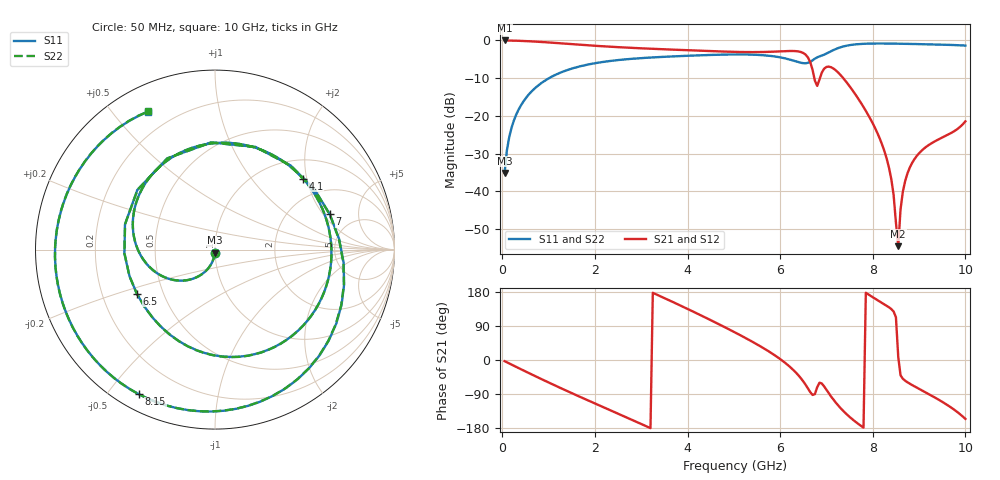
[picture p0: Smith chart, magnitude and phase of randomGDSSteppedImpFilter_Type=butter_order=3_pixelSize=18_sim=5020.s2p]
! freq	dB(S11)	phase(S11)	dB(S12)	phase(S12)
!  dB(S21)	phase(S21)	dB(S22)	phase(S22)
!S-par simulation data
#  GHz  S  DB  R 50
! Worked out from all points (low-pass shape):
!   200 points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, 50 MHz to 10 GHz, reference 50 ohm
!   highest |S21| = -0.01 dB at 50 MHz (marker M1); lowest = -54.5 dB at 8.55 GHz (marker M2)
!   |S21| within 3 dB of the highest: start of sweep to 4.947 GHz; 5.795 GHz to 6.426 GHz (631.1 MHz wide, 10.3 % of centre)
!   lowest |S11| = -35.1 dB at 50 MHz (marker M3), VSWR 1.04, Z = 49.9 - j1.76 ohm
!   |S11| at or under -10 dB: start of sweep to 1.008 GHz
!   |S22| runs from -35.1 to -0.8 dB; largest |S21 - S12| = 0
!   S11 on the Smith chart (normalised r, x): 50 MHz: 1.00, -0.04; 4.1 GHz: 1.45, +1.90; 6.5 GHz: 0.35, -0.23; 7 GHz: 3.28, +2.34; 8.15 GHz: 0.06, -0.60; 10 GHz: 0.11, +0.62
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0.05  -35.08 -92.9  -0.01 -3.1  -0.01 -3.1  -35.08 -92.9
0.2  -23.09 -102.3  -0.04 -12.2  -0.04 -12.2  -23.10 -102.4
0.5  -15.41 -120.8  -0.17 -30.1  -0.17 -30.1  -15.41 -120.7
1.1  -9.39 -155.6  -0.62 -65.0  -0.62 -65.0  -9.39 -155.6
1.75  -6.65 168.3  -1.20 -101.1  -1.20 -101.1  -6.65 168.2
2.6  -5.07 122.4  -1.85 -147.1  -1.85 -147.1  -5.07 122.2
3.4  -4.40 78.7  -2.30 169.0  -2.30 169.0  -4.39 78.4
4.1  -4.01 38.9  -2.64 129.0  -2.64 129.0  -4.01 38.6
5.05  -3.71 -18.2  -3.04 71.2  -3.04 71.2  -3.71 -18.6
6  -4.48 -86.0  -2.90 2.5  -2.90 2.5  -4.48 -86.4
6.5  -6.02 -150.6  -3.34 -56.6  -3.34 -56.6  -6.02 -150.9
6.7  -5.26 142.5  -7.80 -92.2  -7.80 -92.2  -5.27 142.2
6.8  -4.47 92.2  -12.04 -71.7  -12.04 -71.7  -4.48 91.8
7  -3.48 17.1  -7.01 -78.7  -7.01 -78.7  -3.49 16.7
7.5  -1.24 -62.8  -12.14 -150.3  -12.14 -150.3  -1.24 -63.3
8.15  -0.81 -117.7  -25.96 154.5  -25.96 154.5  -0.81 -118.1
8.35  -0.83 -131.4  -33.68 139.1  -33.68 139.1  -0.83 -131.8
8.55  -0.86 -144.6  -54.48 8.0  -54.48 8.0  -0.86 -145.0
8.65  -0.88 -151.1  -40.03 -49.6  -40.03 -49.6  -0.88 -151.5
8.85  -0.93 -164.0  -32.42 -66.1  -32.42 -66.1  -0.93 -164.4
9.45  -1.11 156.4  -26.02 -106.7  -26.02 -106.7  -1.10 156.0
10  -1.37 116.1  -21.42 -155.4  -21.42 -155.4  -1.35 115.9
